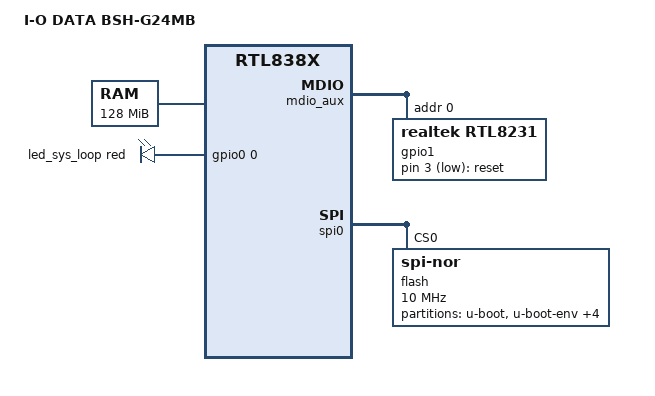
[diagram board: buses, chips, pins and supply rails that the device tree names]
// SPDX-License-Identifier: GPL-2.0-or-later OR MIT

#include "rtl838x.dtsi"

#include <dt-bindings/input/input.h>
#include <dt-bindings/gpio/gpio.h>
#include <dt-bindings/leds/common.h>

/ {
	compatible = "iodata,bsh-g24mb", "realtek,rtl838x-soc";
	model = "I-O DATA BSH-G24MB";

	aliases {
		led-boot = &led_sys_loop;
		led-failsafe = &led_sys_loop;
		led-upgrade = &led_sys_loop;
	};

	memory@0 {
		device_type = "memory";
		reg = <0x0 0x8000000>;
	};

	leds {
		pinctrl-names = "default";
		pinctrl-0 = <&pinmux_disable_sys_led>;
		compatible = "gpio-leds";

		led_sys_loop: led {
			gpios = <&gpio0 0 GPIO_ACTIVE_HIGH>;
			color = <LED_COLOR_ID_RED>;
			function = LED_FUNCTION_STATUS;
		};
	};

	keys {
		compatible = "gpio-keys-polled";
		poll-interval = <20>;

		reset {
			label = "reset";
			gpios = <&gpio1 3 GPIO_ACTIVE_LOW>;
			linux,code = <KEY_RESTART>;
		};
	};
};

&mdio_aux {
	status = "okay";

	gpio1: expander@0 {
		compatible = "realtek,rtl8231";
		reg = <0>;

		gpio-controller;
		#gpio-cells = <2>;
		gpio-ranges = <&gpio1 0 0 37>;

		led-controller {
			compatible = "realtek,rtl8231-leds";
			status = "disabled";
		};
	};
};

&spi0 {
	status = "okay";

	flash@0 {
		compatible = "jedec,spi-nor";
		reg = <0>;
		spi-max-frequency = <10000000>;

		partitions {
			compatible = "fixed-partitions";
			#address-cells = <1>;
			#size-cells = <1>;

			partition@0 {
				label = "u-boot";
				reg = <0x0 0x80000>;
				read-only;
			};

			partition@80000 {
				label = "u-boot-env";
				reg = <0x80000 0x10000>;
				read-only;
			};

			partition@90000 {
				label = "u-boot-env2";
				reg = <0x90000 0x10000>;
			};

			partition@a0000 {
				label = "jffs2_cfg";
				reg = <0xa0000 0x100000>;
				read-only;
			};

			partition@1a0000 {
				label = "jffs2_log";
				reg = <0x1a0000 0x100000>;
				read-only;
			};

			/*
			 * use 2x OS partitions in OpenWrt
			 *
			 * 0x2A0000-0x94FFFF: RUNTIME
			 * 0x950000-0xFFFFFF: RUNTIME2 (not used in stock)
			 */
			partition@2a0000 {
				compatible = "openwrt,uimage", "denx,uimage";
				label = "firmware";
				reg = <0x2a0000 0xd60000>;
				openwrt,ih-magic = <0x83800013>;
			};
		};
	};
};

&mdio_bus0 {
	PHY_C22(0, 0)
	PHY_C22(1, 1)
	PHY_C22(2, 2)
	PHY_C22(3, 3)
	PHY_C22(4, 4)
	PHY_C22(5, 5)
	PHY_C22(6, 6)
	PHY_C22(7, 7)

	PHY_C22(8, 8)
	PHY_C22(9, 9)
	PHY_C22(10, 10)
	PHY_C22(11, 11)
	PHY_C22(12, 12)
	PHY_C22(13, 13)
	PHY_C22(14, 14)
	PHY_C22(15, 15)

	PHY_C22(16, 16)
	PHY_C22(17, 17)
	PHY_C22(18, 18)
	PHY_C22(19, 19)
	PHY_C22(20, 20)
	PHY_C22(21, 21)
	PHY_C22(22, 22)
	PHY_C22(23, 23)
};

&switch0 {
	ethernet-ports {
		#address-cells = <1>;
		#size-cells = <0>;

		SWITCH_PORT_SDS(0, 1, 0, 0, qsgmii)
		SWITCH_PORT_SDS(1, 2, 0, 1, qsgmii)
		SWITCH_PORT_SDS(2, 3, 0, 2, qsgmii)
		SWITCH_PORT_SDS(3, 4, 0, 3, qsgmii)
		SWITCH_PORT_SDS(4, 5, 1, 0, qsgmii)
		SWITCH_PORT_SDS(5, 6, 1, 1, qsgmii)
		SWITCH_PORT_SDS(6, 7, 1, 2, qsgmii)
		SWITCH_PORT_SDS(7, 8, 1, 3, qsgmii)

		SWITCH_PORT(8, 9, internal)
		SWITCH_PORT(9, 10, internal)
		SWITCH_PORT(10, 11, internal)
		SWITCH_PORT(11, 12, internal)
		SWITCH_PORT(12, 13, internal)
		SWITCH_PORT(13, 14, internal)
		SWITCH_PORT(14, 15, internal)
		SWITCH_PORT(15, 16, internal)

		SWITCH_PORT_SDS(16, 17, 2, 0, qsgmii)
		SWITCH_PORT_SDS(17, 18, 2, 1, qsgmii)
		SWITCH_PORT_SDS(18, 19, 2, 2, qsgmii)
		SWITCH_PORT_SDS(19, 20, 2, 3, qsgmii)
		SWITCH_PORT_SDS(20, 21, 3, 0, qsgmii)
		SWITCH_PORT_SDS(21, 22, 3, 1, qsgmii)
		SWITCH_PORT_SDS(22, 23, 3, 2, qsgmii)
		SWITCH_PORT_SDS(23, 24, 3, 3, qsgmii)

		port@28 {
			ethernet = <&ethernet0>;
			reg = <28>;
			phy-mode = "internal";

			fixed-link {
				speed = <1000>;
				full-duplex;
			};
		};
	};
};
